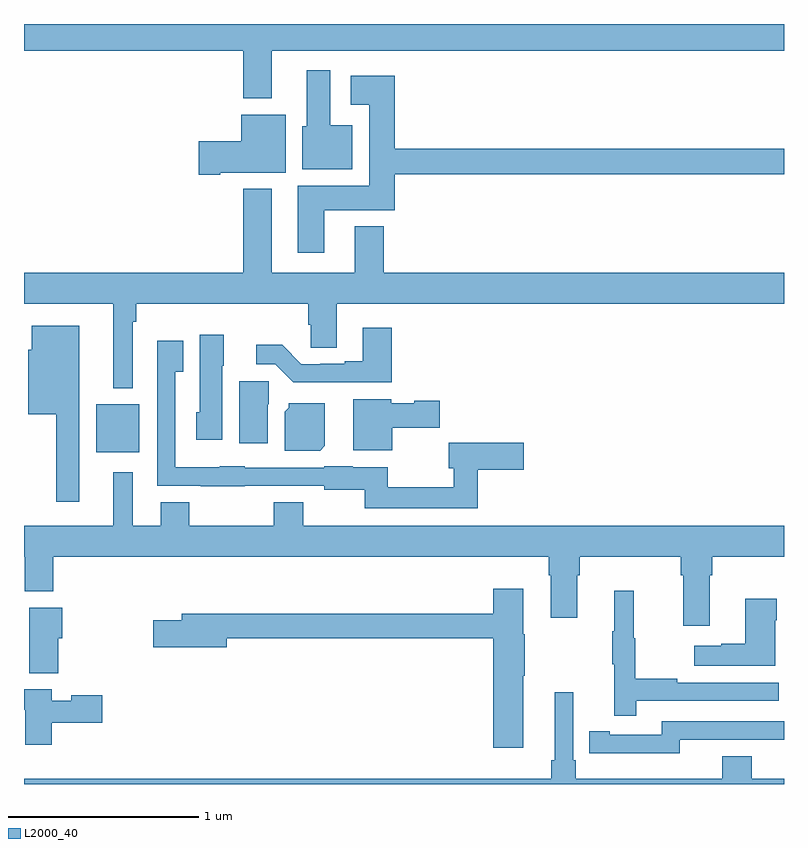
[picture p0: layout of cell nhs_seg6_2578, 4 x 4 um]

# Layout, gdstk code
import gdstk
lib = gdstk.Library(unit=1e-6, precision=1e-09)
def R(c, l, rs):  # rectangles x0, y0, x1, y1
    for r in rs: c.add(gdstk.rectangle(r[:2], r[2:], *l))
def P(c, l, *ps):  # polygons
    for p in ps: c.add(gdstk.Polygon(p, *l))
L2000_40 = (2000, 40)

nhs_seg6_2578 = lib.new_cell('nhs_seg6_2578')
R(nhs_seg6_2578, L2000_40, [(265.379,921.245,265.606,921.499)])
P(nhs_seg6_2578, L2000_40, [(266.305,923.36),(269,923.36),(269,923.5),(265,923.5),(265,923.36),(266.153,923.36),(266.153,923.108),(266.305,923.108)],
  [(266.728,922.966),(266.611,922.966),(266.611,923.257),(266.489,923.257),(266.489,922.962),(266.465,922.962),(266.465,922.736),(266.728,922.736)],
  [(266.581,922.52),(266.951,922.52),(266.951,922.708),(269,922.708),(269,922.844),(266.951,922.844),(266.951,923.227),(266.721,923.227),(266.721,923.075),(266.816,923.075),(266.816,922.648),(266.441,922.648),(266.441,922.296),(266.581,922.296)],
  [(266.032,922.718),(266.377,922.718),(266.377,923.023),(266.144,923.023),(266.144,922.884),(265.92,922.884),(265.92,922.706),(266.032,922.706)],
  [(265.573,921.932),(265.591,921.932),(265.591,922.028),(266.495,922.028),(266.495,921.918),(266.508,921.918),(266.508,921.796),(266.647,921.796),(266.647,922.028),(269,922.028),(269,922.192),(266.894,922.192),(266.894,922.435),(266.741,922.435),(266.741,922.192),(266.305,922.192),(266.305,922.633),(266.153,922.633),(266.153,922.192),(265,922.192),(265,922.028),(265.469,922.028),(265.469,921.584),(265.573,921.584)],
  [(265.291,921.913),(265.04,921.913),(265.04,921.786),(265.022,921.786),(265.022,921.446),(265.17,921.446),(265.17,920.985),(265.291,920.985)],
  [(266.936,921.901),(266.783,921.901),(266.783,921.724),(266.687,921.724),(266.687,921.711),(266.56,921.711),(266.56,921.708),(266.46,921.708),(266.358,921.811),(266.223,921.811),(266.223,921.708),(266.322,921.708),(266.416,921.614),(266.936,921.614)],
  [(266.044,921.702),(266.05,921.702),(266.05,921.865),(265.925,921.865),(265.925,921.456),(265.907,921.456),(265.907,921.312),(266.044,921.312)],
  [(267.389,921.154),(267.631,921.154),(267.631,921.296),(267.235,921.296),(267.235,921.161),(267.261,921.161),(267.261,921.061),(266.914,921.061),(266.914,921.166),(266.73,921.166),(266.73,921.172),(266.58,921.172),(266.58,921.165),(266.163,921.165),(266.163,921.172),(266.031,921.172),(266.031,921.166),(265.797,921.166),(265.797,921.671),(265.837,921.671),(265.837,921.832),(265.701,921.832),(265.701,921.069),(265.931,921.069),(265.931,921.068),(266.163,921.068),(266.163,921.069),(266.58,921.069),(266.58,921.05),(266.793,921.05),(266.793,920.952),(267.389,920.952)],
  [(266.284,921.498),(266.288,921.498),(266.288,921.621),(266.132,921.621),(266.132,921.294),(266.284,921.294)],
  [(266.938,921.376),(267.187,921.376),(267.187,921.518),(267.054,921.518),(267.054,921.505),(266.934,921.505),(266.934,921.526),(266.732,921.526),(266.732,921.257),(266.938,921.257)],
  [(266.584,921.28),(266.584,921.505),(266.394,921.505),(266.394,921.48),(266.372,921.458),(266.372,921.254),(266.558,921.254)],
  [(268.609,920.6),(268.622,920.6),(268.622,920.696),(269,920.696),(269,920.86),(266.469,920.86),(266.469,920.984),(266.314,920.984),(266.314,920.86),(265.869,920.86),(265.869,920.984),(265.721,920.984),(265.721,920.86),(265.573,920.86),(265.573,921.142),(265.469,921.142),(265.469,920.86),(265,920.86),(265,920.696),(265.003,920.696),(265.003,920.514),(265.154,920.514),(265.154,920.696),(267.761,920.696),(267.761,920.6),(267.773,920.6),(267.773,920.376),(267.913,920.376),(267.913,920.6),(267.926,920.6),(267.926,920.696),(268.457,920.696),(268.457,920.6),(268.469,920.6),(268.469,920.334),(268.609,920.334)],
  [(267.628,920.071),(267.636,920.071),(267.636,920.289),(267.628,920.289),(267.628,920.527),(267.47,920.527),(267.47,920.395),(265.829,920.395),(265.829,920.361),(265.68,920.361),(265.68,920.219),(266.068,920.219),(266.068,920.266),(267.47,920.266),(267.47,919.692),(267.628,919.692)],
  [(268.223,919.938),(268.972,919.938),(268.972,920.034),(268.439,920.034),(268.439,920.054),(268.216,920.054),(268.216,920.268),(268.208,920.268),(268.208,920.518),(268.106,920.518),(268.106,920.305),(268.095,920.305),(268.095,920.131),(268.106,920.131),(268.106,919.86),(268.223,919.86)],
  [(268.954,920.363),(268.962,920.363),(268.962,920.476),(268.796,920.476),(268.796,920.237),(268.67,920.237),(268.67,920.227),(268.527,920.227),(268.527,920.123),(268.954,920.123)],
  [(265.181,920.266),(265.201,920.266),(265.201,920.428),(265.028,920.428),(265.028,920.083),(265.181,920.083)],
  [(265.147,919.822),(265.411,919.822),(265.411,919.966),(265.248,919.966),(265.248,919.939),(265.147,919.939),(265.147,919.998),(265,919.998),(265,919.89),(265.007,919.89),(265.007,919.707),(265.147,919.707)],
  [(269,919.528),(268.829,919.528),(268.829,919.645),(268.676,919.645),(268.676,919.528),(267.905,919.528),(267.905,919.624),(267.891,919.624),(267.891,919.984),(267.794,919.984),(267.794,919.624),(267.775,919.624),(267.775,919.528),(265,919.528),(265,919.5),(269,919.5)],
  [(268.452,919.734),(268.912,919.734),(268.912,919.733),(269,919.733),(269,919.83),(268.356,919.83),(268.356,919.758),(268.084,919.758),(268.084,919.778),(267.976,919.778),(267.976,919.662),(268.084,919.662),(268.084,919.661),(268.452,919.661)])

lib.write_gds('nhs_seg6_2578.gds')
